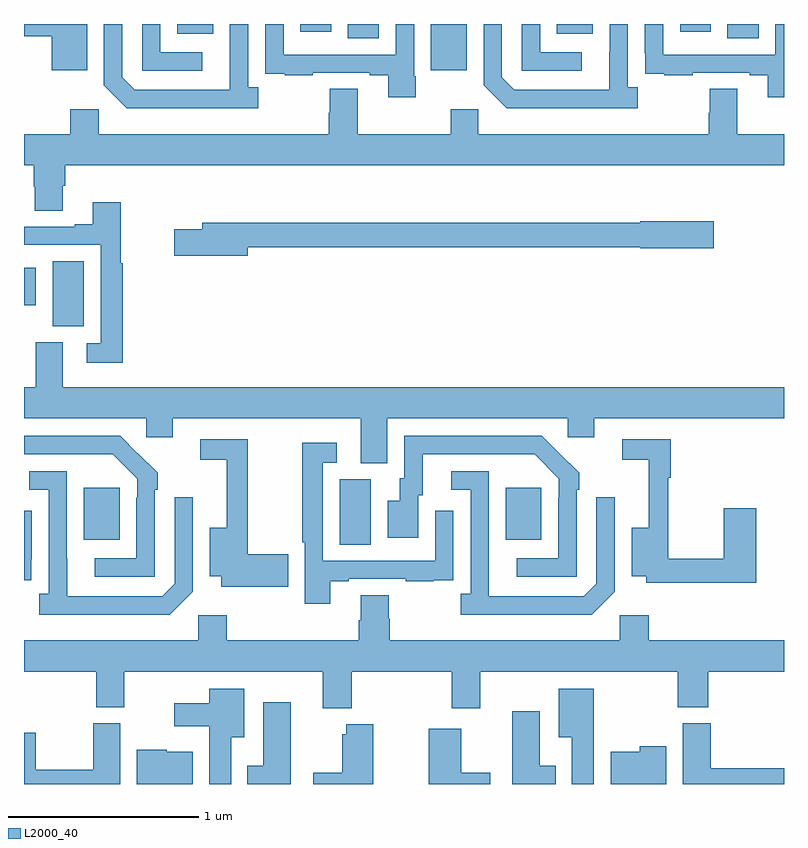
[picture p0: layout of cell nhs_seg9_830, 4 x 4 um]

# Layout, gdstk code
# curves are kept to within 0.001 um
import gdstk
lib = gdstk.Library(unit=1e-6, precision=1e-09)
def R(c, l, rs):  # rectangles x0, y0, x1, y1
    for r in rs: c.add(gdstk.rectangle(r[:2], r[2:], *l))
def P(c, l, *ps):  # polygons
    for p in ps: c.add(gdstk.Polygon(p, *l))
L2000_40 = (2000, 40)

nhs_seg9_830 = lib.new_cell('nhs_seg9_830')
R(nhs_seg9_830, L2000_40, [(156.662,1191.76,156.826,1192.104), (155.315,1191.785,155.503,1192.06), (157.535,1191.785,157.723,1192.06), (155.15,1192.909,155.314,1193.252), (155,1193.021,155.062,1193.218), (157.142,1194.257,157.33,1194.5), (156.704,1194.424,156.868,1194.5), (158.702,1194.424,158.866,1194.5), (155.807,1194.449,155.995,1194.5), (157.805,1194.449,157.993,1194.5), (156.455,1194.459,156.616,1194.5), (158.453,1194.459,158.614,1194.5)])
P(nhs_seg9_830, L2000_40, [(156.232,1194.166),(156.18,1194.166),(156.18,1194.5),(156.084,1194.5),(156.083,1194.153),(155.583,1194.153),(155.517,1194.219),(155.517,1194.5),(155.421,1194.5),(155.421,1194.177),(155.542,1194.056),(156.232,1194.056)],
  [(158.23,1194.166),(158.178,1194.166),(158.178,1194.5),(158.082,1194.5),(158.081,1194.153),(157.581,1194.153),(157.515,1194.219),(157.515,1194.5),(157.419,1194.5),(157.419,1194.177),(157.54,1194.056),(158.23,1194.056)],
  [(157.936,1194.351),(157.716,1194.351),(157.716,1194.5),(157.62,1194.5),(157.62,1194.255),(157.936,1194.255)],
  [(155.332,1194.5),(155,1194.5),(155,1194.436),(155.145,1194.436),(155.145,1194.257),(155.332,1194.257)],
  [(159,1194.5),(158.955,1194.5),(158.955,1194.339),(158.364,1194.339),(158.364,1194.5),(158.268,1194.5),(158.268,1194.346),(158.269,1194.346),(158.269,1194.237),(158.371,1194.237),(158.371,1194.231),(158.519,1194.231),(158.519,1194.243),(158.819,1194.243),(158.819,1194.231),(158.915,1194.231),(158.915,1194.114),(159,1194.114)],
  [(155.938,1194.351),(155.718,1194.351),(155.718,1194.5),(155.622,1194.5),(155.622,1194.255),(155.938,1194.255)],
  [(157.062,1194.226),(157.053,1194.226),(157.053,1194.5),(156.957,1194.5),(156.957,1194.339),(156.366,1194.339),(156.366,1194.5),(156.27,1194.5),(156.27,1194.346),(156.271,1194.346),(156.271,1194.237),(156.373,1194.237),(156.373,1194.231),(156.521,1194.231),(156.521,1194.243),(156.821,1194.243),(156.821,1194.231),(156.917,1194.231),(156.917,1194.114),(157.062,1194.114)],
  [(155.203,1193.65),(155.216,1193.65),(155.216,1193.756),(159,1193.756),(159,1193.92),(158.755,1193.92),(158.755,1194.158),(158.608,1194.158),(158.608,1194.033),(158.603,1194.033),(158.603,1193.92),(157.392,1193.92),(157.392,1194.052),(157.246,1194.052),(157.246,1193.92),(156.757,1193.92),(156.757,1194.158),(156.61,1194.158),(156.61,1194.033),(156.605,1194.033),(156.605,1193.92),(155.394,1193.92),(155.394,1194.052),(155.243,1194.052),(155.243,1193.92),(155,1193.92),(155,1193.756),(155.051,1193.756),(155.051,1193.643),(155.056,1193.643),(155.056,1193.518),(155.203,1193.518)],
  [(155.519,1193.24),(155.508,1193.24),(155.508,1193.563),(155.363,1193.563),(155.363,1193.446),(155.267,1193.446),(155.267,1193.433),(155,1193.433),(155,1193.337),(155.403,1193.337),(155.403,1192.821),(155.331,1192.821),(155.331,1192.716),(155.519,1192.716)],
  [(156.178,1193.326),(158.244,1193.326),(158.244,1193.321),(158.629,1193.321),(158.629,1193.463),(158.244,1193.463),(158.244,1193.455),(155.939,1193.455),(155.939,1193.421),(155.79,1193.421),(155.79,1193.279),(156.178,1193.279)],
  [(156.913,1192.424),(157.863,1192.424),(157.863,1192.326),(158.002,1192.326),(158.002,1192.424),(159,1192.424),(159,1192.588),(155.203,1192.588),(155.203,1192.824),(155.063,1192.824),(155.063,1192.588),(155,1192.588),(155,1192.424),(155.643,1192.424),(155.643,1192.326),(155.782,1192.326),(155.782,1192.424),(156.773,1192.424),(156.773,1192.189),(156.913,1192.189)],
  [(157.908,1192.049),(157.923,1192.049),(157.923,1192.137),(157.726,1192.332),(157.002,1192.332),(157.002,1192.11),(156.977,1192.11),(156.977,1191.991),(156.914,1191.991),(156.914,1191.795),(157.075,1191.795),(157.075,1192.02),(157.099,1192.02),(157.099,1192.236),(157.687,1192.236),(157.815,1192.107),(157.815,1192.007),(157.812,1192.007),(157.812,1191.687),(157.593,1191.687),(157.593,1191.591),(157.908,1191.591)],
  [(155.688,1192.049),(155.703,1192.049),(155.703,1192.137),(155.506,1192.332),(155,1192.332),(155,1192.236),(155.467,1192.236),(155.595,1192.107),(155.595,1192.007),(155.592,1192.007),(155.592,1191.687),(155.373,1191.687),(155.373,1191.591),(155.688,1191.591)],
  [(156.391,1191.71),(156.178,1191.71),(156.178,1192.314),(155.928,1192.314),(155.928,1192.206),(156.068,1192.206),(156.068,1191.85),(155.978,1191.85),(155.978,1191.593),(156.038,1191.593),(156.038,1191.539),(156.391,1191.539)],
  [(158.855,1191.952),(158.684,1191.952),(158.684,1191.686),(158.39,1191.686),(158.39,1192.111),(158.405,1192.111),(158.405,1192.314),(158.148,1192.314),(158.148,1192.206),(158.288,1192.206),(158.288,1191.85),(158.198,1191.85),(158.198,1191.593),(158.274,1191.593),(158.274,1191.558),(158.855,1191.558)],
  [(156.613,1191.567),(156.709,1191.567),(156.709,1191.579),(157.009,1191.579),(157.009,1191.567),(157.157,1191.567),(157.157,1191.573),(157.259,1191.573),(157.259,1191.682),(157.26,1191.682),(157.26,1191.937),(157.164,1191.937),(157.164,1191.675),(156.573,1191.675),(156.573,1192.191),(156.646,1192.191),(156.646,1192.297),(156.465,1192.297),(156.465,1191.772),(156.477,1191.772),(156.477,1191.45),(156.613,1191.45)],
  [(155.889,1191.513),(155.889,1192.009),(155.793,1192.009),(155.793,1191.555),(155.727,1191.489),(155.227,1191.489),(155.226,1192.146),(155.028,1192.146),(155.028,1192.05),(155.13,1192.05),(155.13,1191.502),(155.079,1191.502),(155.079,1191.392),(155.768,1191.392)],
  [(158.109,1191.513),(158.109,1192.009),(158.013,1192.009),(158.013,1191.555),(157.947,1191.489),(157.447,1191.489),(157.446,1192.146),(157.248,1192.146),(157.248,1192.05),(157.35,1192.05),(157.35,1191.502),(157.299,1191.502),(157.299,1191.392),(157.988,1191.392)],
  [(155.039,1191.682),(155.04,1191.682),(155.04,1191.937),(155,1191.937),(155,1191.573),(155.039,1191.573)],
  [(157.402,1191.092),(158.44,1191.092),(158.44,1190.905),(158.6,1190.905),(158.6,1191.092),(159,1191.092),(159,1191.256),(158.288,1191.256),(158.288,1191.388),(158.136,1191.388),(158.136,1191.256),(156.926,1191.256),(156.926,1191.369),(156.921,1191.369),(156.921,1191.494),(156.773,1191.494),(156.773,1191.362),(156.761,1191.362),(156.761,1191.256),(156.068,1191.256),(156.068,1191.388),(155.916,1191.388),(155.916,1191.256),(155,1191.256),(155,1191.092),(155.38,1191.092),(155.38,1190.905),(155.527,1190.905),(155.527,1191.092),(156.572,1191.092),(156.572,1190.9),(156.725,1190.9),(156.725,1191.092),(157.25,1191.092),(157.25,1190.898),(157.402,1190.898)],
  [(156.091,1190.747),(156.16,1190.747),(156.16,1191.001),(155.975,1191.001),(155.975,1190.926),(155.79,1190.926),(155.79,1190.804),(155.975,1190.804),(155.975,1190.5),(156.091,1190.5)],
  [(157.999,1191.001),(157.814,1191.001),(157.814,1190.747),(157.883,1190.747),(157.883,1190.5),(157.999,1190.5)],
  [(156.403,1190.929),(156.26,1190.929),(156.26,1190.596),(156.176,1190.596),(156.176,1190.5),(156.403,1190.5)],
  [(157.798,1190.596),(157.714,1190.596),(157.714,1190.884),(157.571,1190.884),(157.571,1190.5),(157.798,1190.5)],
  [(159,1190.582),(158.615,1190.582),(158.615,1190.82),(158.468,1190.82),(158.468,1190.5),(159,1190.5)],
  [(155.506,1190.82),(155.365,1190.82),(155.365,1190.576),(155.061,1190.576),(155.061,1190.77),(155,1190.77),(155,1190.5),(155.506,1190.5)],
  [(156.837,1190.815),(156.697,1190.815),(156.697,1190.761),(156.674,1190.761),(156.674,1190.559),(156.522,1190.559),(156.522,1190.5),(156.837,1190.5)],
  [(157.453,1190.559),(157.3,1190.559),(157.3,1190.791),(157.13,1190.791),(157.13,1190.5),(157.453,1190.5)],
  [(158.38,1190.698),(158.241,1190.698),(158.241,1190.671),(158.087,1190.671),(158.087,1190.5),(158.38,1190.5)],
  [(155.887,1190.671),(155.751,1190.671),(155.751,1190.68),(155.594,1190.68),(155.594,1190.5),(155.887,1190.5)])

lib.write_gds('nhs_seg9_830.gds')
